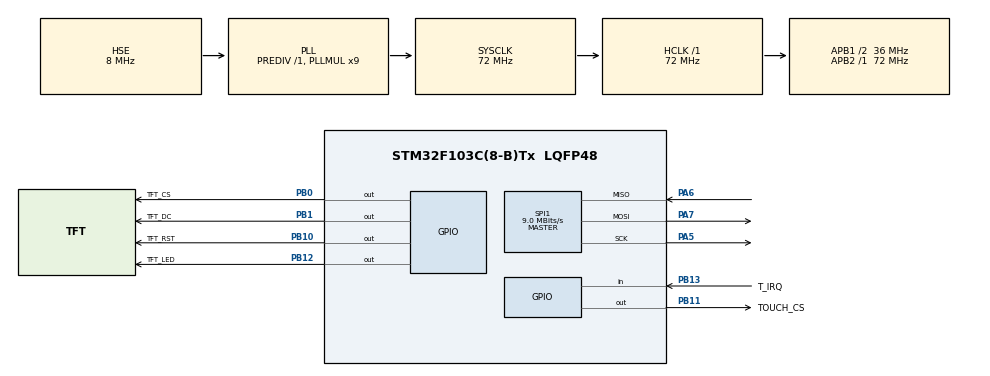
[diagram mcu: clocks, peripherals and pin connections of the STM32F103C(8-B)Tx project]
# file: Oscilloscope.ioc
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Dma.Request0=SPI1_TX
Dma.SPI1_TX.0.Direction=DMA_MEMORY_TO_PERIPH
Dma.SPI1_TX.0.Instance=DMA1_Channel3
Dma.SPI1_TX.0.MemDataAlignment=DMA_MDATAALIGN_BYTE
Dma.SPI1_TX.0.MemInc=DMA_MINC_ENABLE
Dma.SPI1_TX.0.Mode=DMA_NORMAL
Dma.SPI1_TX.0.PeriphDataAlignment=DMA_PDATAALIGN_BYTE
Dma.SPI1_TX.0.PeriphInc=DMA_PINC_DISABLE
Dma.SPI1_TX.0.Priority=DMA_PRIORITY_MEDIUM
Mcu.Family=STM32F1
Mcu.Name=STM32F103C(8-B)Tx
Mcu.Package=LQFP48
NVIC.DMA1_Channel3_IRQn=true\:0\:0\:false\:false\:true\:false\:true\:true
NVIC.PriorityGroup=NVIC_PRIORITYGROUP_4
PA5.Mode=Full_Duplex_Master
PA5.Signal=SPI1_SCK
PA6.Mode=Full_Duplex_Master
PA6.Signal=SPI1_MISO
PA7.Mode=Full_Duplex_Master
PA7.Signal=SPI1_MOSI
PB0.GPIO_Label=TFT_CS
PB0.GPIO_Speed=GPIO_SPEED_FREQ_HIGH
PB0.PinState=GPIO_PIN_SET
PB0.Signal=GPIO_Output
PB1.GPIO_Label=TFT_DC
PB1.GPIO_Speed=GPIO_SPEED_FREQ_HIGH
PB1.PinState=GPIO_PIN_SET
PB1.Signal=GPIO_Output
PB10.GPIO_Label=TFT_RST
PB10.GPIO_Speed=GPIO_SPEED_FREQ_HIGH
PB10.PinState=GPIO_PIN_SET
PB10.Signal=GPIO_Output
PB11.GPIO_Label=TOUCH_CS
PB11.GPIO_Speed=GPIO_SPEED_FREQ_HIGH
PB11.PinState=GPIO_PIN_SET
PB11.Signal=GPIO_Output
PB12.GPIO_Label=TFT_LED
PB12.GPIO_Speed=GPIO_SPEED_FREQ_HIGH
PB12.PinState=GPIO_PIN_SET
PB12.Signal=GPIO_Output
PB13.GPIO_Label=T_IRQ
PB13.Signal=GPIO_Input
PD0-OSC_IN.Mode=HSE-External-Oscillator
PD0-OSC_IN.Signal=RCC_OSC_IN
PD1-OSC_OUT.Mode=HSE-External-Oscillator
PD1-OSC_OUT.Signal=RCC_OSC_OUT
ProjectManager.HeapSize=0x200
ProjectManager.StackSize=0x400
ProjectManager.TargetToolchain=STM32CubeIDE
RCC.AHBFreq_Value=72000000
RCC.APB1CLKDivider=RCC_HCLK_DIV2
RCC.APB1Freq_Value=36000000
RCC.APB1TimFreq_Value=72000000
RCC.APB2Freq_Value=72000000
RCC.APB2TimFreq_Value=72000000
RCC.HCLKFreq_Value=72000000
RCC.PLLMUL=RCC_PLL_MUL9
RCC.PLLSourceVirtual=RCC_PLLSOURCE_HSE
RCC.SYSCLKFreq_VALUE=72000000
RCC.SYSCLKSource=RCC_SYSCLKSOURCE_PLLCLK
RCC.USBFreq_Value=72000000
SPI1.BaudRatePrescaler=SPI_BAUDRATEPRESCALER_8
SPI1.CalculateBaudRate=9.0 MBits/s
SPI1.Direction=SPI_DIRECTION_2LINES
SPI1.Mode=SPI_MODE_MASTER
SPI1.VirtualType=VM_MASTER
VP_SYS_VS_ND.Mode=No_Debug
board=custom

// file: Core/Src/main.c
/* USER CODE BEGIN Header */
/**
  ******************************************************************************
  * @file           : main.c
  * @brief          : Main program body
  ******************************************************************************
  * @attention
  *
  * Copyright (c) 2026 STMicroelectronics.
  * All rights reserved.
  *
  ******************************************************************************
  */
/* USER CODE END Header */

#include "main.h"
#include "dma.h"
#include "spi.h"
#include "gpio.h"

/* USER CODE BEGIN Includes */

#include "st7789.h"
#include "XPT2046.h"

/* USER CODE END Includes */

/* USER CODE BEGIN PV */

touch_t touch;

/* USER CODE END PV */

void SystemClock_Config(void);

int main(void)
{

  /* MCU Configuration--------------------------------------------------------*/

  /* Reset of all peripherals, Initializes the Flash interface and the Systick. */
  HAL_Init();

  /* Configure the system clock */
  SystemClock_Config();

  /* Initialize all configured peripherals */
  MX_GPIO_Init();
  MX_DMA_Init();
  MX_SPI1_Init();

  /* USER CODE BEGIN 2 */

  /* Turn ON TFT backlight */
  HAL_GPIO_WritePin(TFT_LED_GPIO_Port, TFT_LED_Pin, GPIO_PIN_SET);

  /*
   * Initialize ST7789 TFT
   *
   * Display:
   * ST7789 240x240
   */
  ST7789_Init();

  ST7789_WriteString(
      20,
      20,
      "ST7789 TEST",
      Font_16x26,
      WHITE,
      BLACK
  );

  ST7789_DrawLine(0, 60, 239, 60, RED);
  ST7789_DrawLine(0, 61, 239, 61, RED);

  ST7789_DrawRectangle(20, 80, 140, 160, GREEN);

  ST7789_DrawFilledRectangle(170, 80, 130, 80, WHITE);

  ST7789_DrawCircle(80, 200, 30, YELLOW);

  ST7789_DrawFilledCircle(200, 200, 30, BLUE);

  /*
   * Initialize XPT2046 Touch
   *
   * SPI1
   * Landscape
   * 240x240 display
   */
  XPT2046_init(
      &hspi1,
      XPT2046_LANDSCAPE,
      ST7789_WIDTH,
      ST7789_HEIGHT
  );

  /* USER CODE END 2 */

  /* Infinite loop */
  /* USER CODE BEGIN WHILE */
  while (1)
  {
    if (HAL_GPIO_ReadPin(
            XPT2046_IRQ_GPIO_Port,
            XPT2046_IRQ_Pin
        ) == GPIO_PIN_RESET)
    {
      touch = XPT2046_getTouch();

      /*
       * Mirror X coordinate because the touch panel
       * coordinate system is opposite to the display.
       */
      touch.x = ST7789_WIDTH - 1 - touch.x;

      if (touch.x < ST7789_WIDTH &&
          touch.y < ST7789_HEIGHT)
      {
        ST7789_DrawFilledCircle(
            touch.x,
            touch.y,
            6,
            GREEN
        );
      }
    }

    HAL_Delay(10);
  }
  /* USER CODE END 3 */
}

void SystemClock_Config(void)
{
  RCC_OscInitTypeDef RCC_OscInitStruct = {0};
  RCC_ClkInitTypeDef RCC_ClkInitStruct = {0};

  /** Initializes the RCC Oscillators according to the specified parameters
  * in the RCC_OscInitTypeDef structure.
  */
  RCC_OscInitStruct.OscillatorType = RCC_OSCILLATORTYPE_HSE;
  RCC_OscInitStruct.HSEState = RCC_HSE_ON;
  RCC_OscInitStruct.HSEPredivValue = RCC_HSE_PREDIV_DIV1;
  RCC_OscInitStruct.HSIState = RCC_HSI_ON;
  RCC_OscInitStruct.PLL.PLLState = RCC_PLL_ON;
  RCC_OscInitStruct.PLL.PLLSource = RCC_PLLSOURCE_HSE;
  RCC_OscInitStruct.PLL.PLLMUL = RCC_PLL_MUL9;

  if (HAL_RCC_OscConfig(&RCC_OscInitStruct) != HAL_OK)
  {
    Error_Handler();
  }

  /** Initializes the CPU, AHB and APB buses clocks
  */
  RCC_ClkInitStruct.ClockType =
      RCC_CLOCKTYPE_HCLK |
      RCC_CLOCKTYPE_SYSCLK |
      RCC_CLOCKTYPE_PCLK1 |
      RCC_CLOCKTYPE_PCLK2;

  RCC_ClkInitStruct.SYSCLKSource = RCC_SYSCLKSOURCE_PLLCLK;
  RCC_ClkInitStruct.AHBCLKDivider = RCC_SYSCLK_DIV1;
  RCC_ClkInitStruct.APB1CLKDivider = RCC_HCLK_DIV2;
  RCC_ClkInitStruct.APB2CLKDivider = RCC_HCLK_DIV1;

  if (HAL_RCC_ClockConfig(
          &RCC_ClkInitStruct,
          FLASH_LATENCY_2
      ) != HAL_OK)
  {
    Error_Handler();
  }
}

void Error_Handler(void)
{
  __disable_irq();
  while (1)
  {
  }
}
